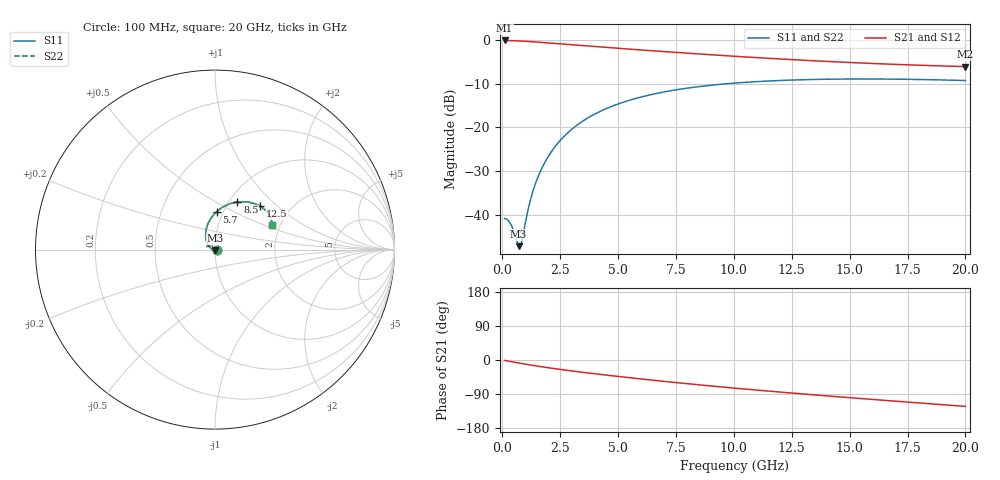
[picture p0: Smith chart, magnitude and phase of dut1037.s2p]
! Touchstone file exported from HFSS 2024.1.0
!  File:  C:/UserFiles/LocalFiles/RDL_TSV_Batchsim/temp_RDL_TSV_1037_1780084857.aedt
!  Generated:  04:14:44 AM May 30, 2026
!  Design:  RDL_TSV
!  Project:  temp_RDL_TSV_1037_1780084857
!  Setup:  Setup1
!  Solution:  Sweep
! Variables:
!  dtsv = 10.32um
!  hbump = 3um
!  htsv = 58.03um
!  ldown = 258.35um
!  lrdl = 218.84um
!  p = 40
!  p1 = 49.83um
!  rhole = 10um
!  subl = 1650.41um
!  t = 450um
!  tdown = 4.41um
!  trdl = 2.85um
!  viad = 10um
!  wdown = 24.18um
!  wrdl = 19.13um
!  xbump = 18um
# GHz S MA R 50.000000
! Terminal data exported
! Port[1] = TM1_1_T1
! Port[2] = TM1_4_T1
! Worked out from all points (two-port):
!   200 points, 100 MHz to 20 GHz, reference 50 ohm
!   highest |S21| = -0.08 dB at 100 MHz (marker M1); lowest = -6.1 dB at 20 GHz (marker M2)
!   |S21| within 3 dB of the highest: start of sweep to 8.226 GHz
!   lowest |S11| = -47.2 dB at 700 MHz (marker M3), VSWR 1.01, Z = 50.1 - j0.426 ohm
!   |S11| at or under -10 dB: start of sweep to 9.698 GHz
!   |S22| runs from -47.2 to -8.9 dB; largest |S21 - S12| = 3.4e-13
!   S11 on the Smith chart (normalised r, x): 100 MHz: 1.02, -0.00; 5.7 GHz: 0.93, +0.41; 8.5 GHz: 1.09, +0.63; 12.5 GHz: 1.42, +0.78; 20 GHz: 1.81, +0.56
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0.1  0.009043 -3.9  0.9905 -1.2  0.9905 -1.2  0.009043 -3.9
! Gamma 0 0 0 0
! Port Impedance 50 0 50 0
0.3  0.008321 -15.1  0.9881 -3.4  0.9881 -3.4  0.008323 -15.1
0.4  0.007507 -23.4  0.9863 -4.6  0.9863 -4.6  0.007509 -23.4
0.7  0.004354 -77.7  0.9789 -7.9  0.9789 -7.9  0.004358 -77.6
0.8  0.004431 -112.9  0.9759 -8.9  0.9759 -8.9  0.004432 -112.8
1.1  0.01101 -172.9  0.9654 -12.0  0.9654 -12.0  0.011 -172.9
1.3  0.01775 172.2  0.9575 -14.0  0.9575 -14.0  0.01773 172.3
1.5  0.02541 162.5  0.949 -16.0  0.949 -16.0  0.02538 162.5
1.8  0.0381 151.6  0.9356 -18.8  0.9356 -18.8  0.03806 151.6
2.1  0.05177 142.9  0.922 -21.5  0.922 -21.5  0.05172 142.9
2.5  0.07085 133.3  0.9038 -24.9  0.9038 -24.9  0.07079 133.3
3  0.09516 123.3  0.8818 -28.9  0.8818 -28.9  0.09507 123.3
3.5  0.1192 114.7  0.861 -32.7  0.861 -32.7  0.1191 114.7
4.5  0.1645 100.7  0.8223 -39.9  0.8223 -39.9  0.1644 100.7
5.7  0.2123 87.3  0.78 -48.1  0.78 -48.1  0.2121 87.3
6.8  0.249 77.3  0.7442 -55.2  0.7442 -55.2  0.2488 77.3
8.5  0.2933 64.7  0.6934 -65.6  0.6934 -65.6  0.293 64.7
10.1  0.3226 55.2  0.651 -74.6  0.651 -74.6  0.3223 55.2
12.5  0.3485 43.8  0.5974 -87.2  0.5974 -87.2  0.3481 43.8
13.4  0.3538 40.3  0.5803 -91.7  0.5803 -91.7  0.3534 40.3
16.7  0.3575 30.0  0.5303 -107.4  0.5303 -107.4  0.357 30.0
20  0.3441 23.3  0.4965 -122.4  0.4965 -122.4  0.3435 23.3
